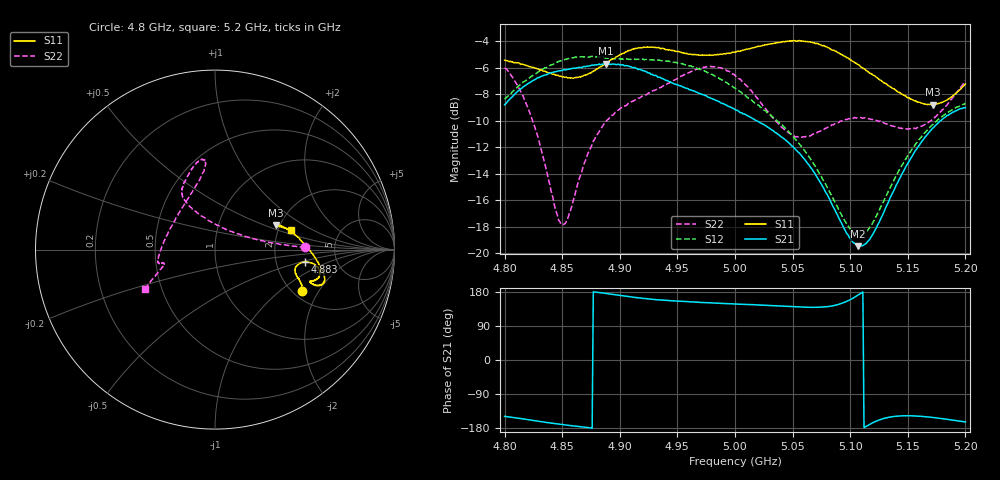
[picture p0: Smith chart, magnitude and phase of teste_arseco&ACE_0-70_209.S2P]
! Network Analyzer HP8722D
! Hewlett-Packard
! Data name: Linha & Wilkinson
! Saver's name: Rodrigo Anjos
! Comments: Teste da utilização de aquisição
! continua pelo VNA HP8722D
! Time and date: 8/5/2025 14:30
!  Frequency  S11  S21  S12  S22
# HZ  S  MA R 50
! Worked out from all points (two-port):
!   401 points, 4.8 GHz to 5.2 GHz, reference 50 ohm
!   highest |S21| = -5.69 dB at 4.888 GHz (marker M1); lowest = -19.4 dB at 5.107 GHz (marker M2)
!   |S21| within 3 dB of the highest: 4.801 GHz to 4.99 GHz (188.8 MHz wide, 3.86 % of centre)
!   lowest |S11| = -8.8 dB at 5.172 GHz (marker M3), VSWR 2.15, Z = 94.8 + j30 ohm
!   |S11| at or under -10 dB: nowhere
!   |S22| runs from -17.8 to -5.9 dB; largest |S21 - S12| = 1.1
!   S11 on the Smith chart (normalised r, x): 4.8 GHz: 2.24, -1.44; 4.883 GHz: 2.93, -0.55; 5.2 GHz: 2.33, +0.64
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4.8e9  0.5362 -25.4  0.3639 -148.8  0.3815 10.5  0.5018 1.3
4.812e9  0.5243 -22.3  0.4108 -153.7  0.4277 8.9  0.4242 2.7
4.823e9  0.5057 -20.5  0.4448 -158.7  0.4654 7.2  0.3294 6.2
4.849e9  0.466 -16.1  0.4903 -170.0  0.5332 3.1  0.1289 58.9
4.855e9  0.4595 -14.2  0.4949 -172.3  0.5433 2.1  0.1362 85.0
4.867e9  0.4661 -10.7  0.5032 -176.6  0.5525 0.6  0.2034 112.3
4.883e9  0.5059 -8.0  0.5154 177.5  0.5502 -1.0  0.2932 120.7
4.888e9  0.5222 -7.9  0.5194 175.7  0.5456 -0.8  0.3141 121.5
4.912e9  0.5902 -10.8  0.5034 165.5  0.539 -0.4  0.3768 119.1
4.934e9  0.5979 -15.4  0.4627 158.6  0.5365 -1.5  0.4206 112.9
4.975e9  0.5604 -18.6  0.3938 151.4  0.4855 -5.1  0.5068 99.3
5e9  0.5748 -19.4  0.349 147.7  0.4213 -5.0  0.4694 96.8
5.018e9  0.6001 -19.4  0.3177 145.7  0.3668 -2.4  0.3921 103.4
5.045e9  0.6312 -17.3  0.2652 141.3  0.2924 3.2  0.2882 132.8
5.067e9  0.6245 -13.4  0.2076 139.0  0.2223 9.5  0.2811 164.6
5.096e9  0.5524 -3.6  0.1214 153.4  0.1314 33.8  0.3206 -171.3
5.107e9  0.5161 1.4  0.1066 171.8  0.1175 54.6  0.3248 -167.5
5.118e9  0.4769 6.8  0.1153 -167.9  0.1272 76.4  0.3204 -166.2
5.134e9  0.4281 14.6  0.1594 -150.8  0.1745 94.8  0.306 -165.7
5.155e9  0.3784 21.2  0.2378 -147.5  0.2519 101.8  0.2967 -164.2
5.172e9  0.3646 22.1  0.2977 -151.8  0.308 102.5  0.3219 -160.1
5.2e9  0.4359 14.8  0.355 -163.6  0.3681 102.9  0.4478 -150.5
